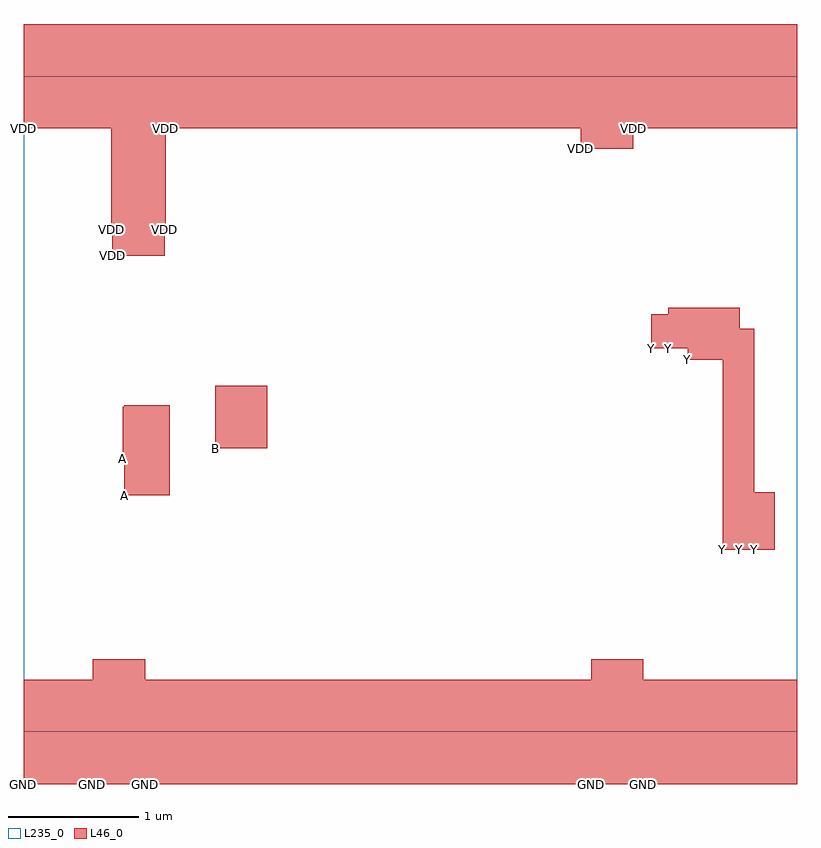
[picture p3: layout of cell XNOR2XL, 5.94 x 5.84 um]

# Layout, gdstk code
import gdstk
lib = gdstk.Library(unit=1e-6, precision=1e-09)
def R(c, l, rs):  # rectangles x0, y0, x1, y1
    for r in rs: c.add(gdstk.rectangle(r[:2], r[2:], *l))
L46_0 = (46, 0)
L235_0 = (235, 0)

xnor2xl = lib.new_cell('XNOR2XL')
R(xnor2xl, L46_0, [(0,-0.4,0.53,0.4), (0.53,-0.4,0.93,0.56), (0.93,-0.4,4.36,0.4), (4.36,-0.4,4.76,0.56), (4.76,-0.4,5.94,0.4), (5.37,1.4,5.5,3.26), (5.5,1.4,5.61,3.1), (5.61,1.4,5.77,1.84), (0.77,1.82,1.12,2.51), (0.76,2.1,0.77,2.5), (1.47,2.18,1.87,2.66), (5.1,2.86,5.37,3.26), (4.82,2.95,4.95,3.21), (4.95,2.95,5.1,3.26), (0.68,3.66,1.08,5.44), (0.67,3.86,0.68,5.44), (1.08,3.86,1.09,5.44), (4.28,4.48,4.68,5.44), (0,4.64,0.67,5.44), (1.09,4.64,4.28,5.44), (4.68,4.64,5.94,5.44)])
R(xnor2xl, L235_0, [(0,0,5.94,5.04)])
xnor2xl.add(gdstk.Label('Y', (5.61,1.4), layer=101, texttype=0))
xnor2xl.add(gdstk.Label('Y', (5.5,1.4), layer=101, texttype=0))
xnor2xl.add(gdstk.Label('Y', (5.37,1.4), layer=101, texttype=0))
xnor2xl.add(gdstk.Label('Y', (5.1,2.86), layer=101, texttype=0))
xnor2xl.add(gdstk.Label('Y', (4.95,2.95), layer=101, texttype=0))
xnor2xl.add(gdstk.Label('Y', (4.82,2.95), layer=101, texttype=0))
xnor2xl.add(gdstk.Label('B', (1.47,2.18), layer=101, texttype=0))
xnor2xl.add(gdstk.Label('A', (0.77,1.82), layer=101, texttype=0))
xnor2xl.add(gdstk.Label('A', (0.76,2.1), layer=101, texttype=0))
xnor2xl.add(gdstk.Label('VDD', (4.68,4.64), layer=101, texttype=0))
xnor2xl.add(gdstk.Label('VDD', (4.28,4.48), layer=101, texttype=0))
xnor2xl.add(gdstk.Label('VDD', (1.09,4.64), layer=101, texttype=0))
xnor2xl.add(gdstk.Label('VDD', (1.08,3.86), layer=101, texttype=0))
xnor2xl.add(gdstk.Label('VDD', (0.68,3.66), layer=101, texttype=0))
xnor2xl.add(gdstk.Label('VDD', (0.67,3.86), layer=101, texttype=0))
xnor2xl.add(gdstk.Label('VDD', (0,4.64), layer=101, texttype=0))
xnor2xl.add(gdstk.Label('GND', (4.76,-0.4), layer=101, texttype=0))
xnor2xl.add(gdstk.Label('GND', (4.36,-0.4), layer=101, texttype=0))
xnor2xl.add(gdstk.Label('GND', (0.93,-0.4), layer=101, texttype=0))
xnor2xl.add(gdstk.Label('GND', (0.53,-0.4), layer=101, texttype=0))
xnor2xl.add(gdstk.Label('GND', (0,-0.4), layer=101, texttype=0))

lib.write_gds('XNOR2XL.gds')
